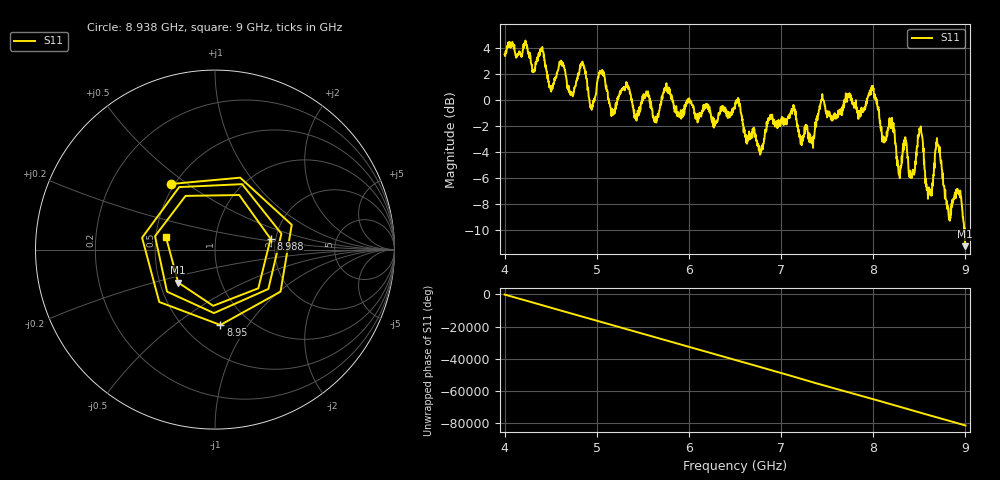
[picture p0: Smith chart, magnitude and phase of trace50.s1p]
! Created with skrf 1.8.0 (http://scikit-rf.org).
# Hz S RI R 50.0
!freq ReS11 ImS11
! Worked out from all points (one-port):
!   1601 points, 4 GHz to 9 GHz, reference 50 ohm
!   lowest |S11| = -11.2 dB at 8.997 GHz (marker M1), VSWR 1.76, Z = 31.1 - j12.3 ohm
!   |S11| at or under -10 dB: 8.987781 GHz to 8.988335 GHz (554.7 kHz wide, 0.00617 % of centre); 8.993184 GHz to end of sweep
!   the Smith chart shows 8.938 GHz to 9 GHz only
!   S11 on the Smith chart (normalised r, x): 8.938 GHz: 0.48, +0.44; 8.95 GHz: 0.74, -0.75; 8.988 GHz: 1.87, +0.25; 9 GHz: 0.57, +0.08
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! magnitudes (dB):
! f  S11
! 4 GHz  3.5
! 4.506 GHz  0.7
! 4.625 GHz  2.9
! 4.722 GHz  0.5
! 4.853 GHz  2.7
! 4.941 GHz  -0.6
! 5.05 GHz  2.1
! 5.169 GHz  -1.1
! 5.25 GHz  0.5
! 5.875 GHz  -0.9
! 6.5 GHz  -0.7
! 6.778 GHz  -4.1
! 7.125 GHz  -0.8
! 7.334 GHz  -3.2
! 7.444 GHz  0.2
! 7.75 GHz  0.4
! 7.997 GHz  1.1
! 8.278 GHz  -5.7
! 8.375 GHz  -4.4
! 8.509 GHz  -2.2
! 8.6 GHz  -7.0
! 8.697 GHz  -3.5
! 8.812 GHz  -8.3
! 8.938 GHz  -7.2
! 8.95 GHz  -7.5
! 8.988 GHz  -10.0
! 8.997 GHz  -11.2
! 9 GHz  -11.0
